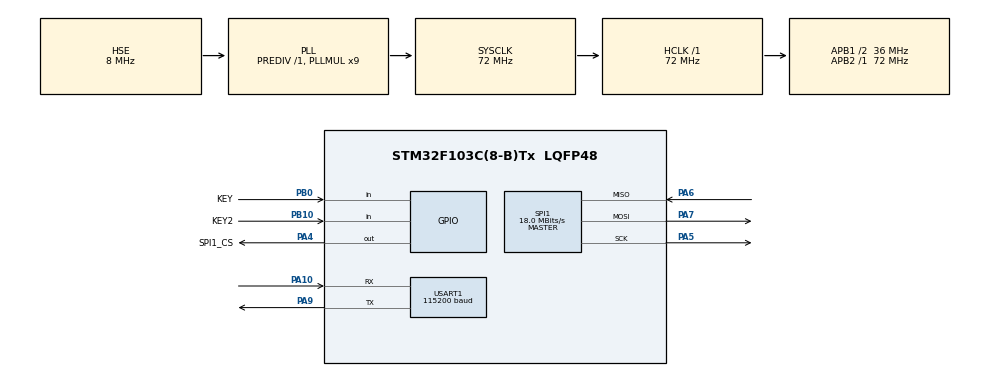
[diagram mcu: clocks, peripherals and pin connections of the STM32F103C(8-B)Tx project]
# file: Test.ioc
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FREERTOS.INCLUDE_eTaskGetState=1
FREERTOS.INCLUDE_uxTaskGetStackHighWaterMark=1
FREERTOS.INCLUDE_uxTaskPriorityGet=0
FREERTOS.INCLUDE_vTaskDelayUntil=0
FREERTOS.INCLUDE_vTaskDelete=0
FREERTOS.INCLUDE_vTaskPrioritySet=0
FREERTOS.INCLUDE_xTaskGetHandle=1
FREERTOS.INCLUDE_xTaskGetSchedulerState=0
FREERTOS.Tasks01=MainTask,32,512,MainTaskEntry,As weak,NULL,Dynamic,NULL,NULL;Task01,8,256,Task01Entry,As weak,NULL,Dynamic,NULL,NULL;Task02,9,256,Task02Entry,As weak,NULL,Dynamic,NULL,NULL;KeyScanTask,8,256,KeyScanTaskEntry,As weak,NULL,Dynamic,NULL,NULL
FREERTOS.configCHECK_FOR_STACK_OVERFLOW=2
FREERTOS.configGENERATE_RUN_TIME_STATS=0
FREERTOS.configTIMER_TASK_STACK_DEPTH=128
FREERTOS.configTOTAL_HEAP_SIZE=10240
FREERTOS.configUSE_MALLOC_FAILED_HOOK=1
FREERTOS.configUSE_NEWLIB_REENTRANT=1
FREERTOS.configUSE_STATS_FORMATTING_FUNCTIONS=0
FREERTOS.configUSE_TIMERS=1
FREERTOS.configUSE_TRACE_FACILITY=0
Mcu.Family=STM32F1
Mcu.Name=STM32F103C(8-B)Tx
Mcu.Package=LQFP48
NVIC.PriorityGroup=NVIC_PRIORITYGROUP_4
NVIC.TIM4_IRQn=true\:15\:0\:false\:false\:true\:false\:false\:true\:true
NVIC.TimeBase=TIM4_IRQn
NVIC.TimeBaseIP=TIM4
NVIC.USART1_IRQn=true\:5\:0\:false\:false\:true\:true\:true\:true\:true
NimaLTD.I-CUBE-SPIF.2.3.2.DriverJjSPIF=true
NimaLTD.I-CUBE-SPIF.2.3.2.SPIF_DEBUG=SPIF_DEBUG_DISABLE
NimaLTD.I-CUBE-SPIF.2.3.2.SPIF_RTOS=SPIF_RTOS_CMSIS_V2
PA10.GPIO_PuPd=GPIO_PULLUP
PA10.Mode=Asynchronous
PA10.Signal=USART1_RX
PA13.Mode=Serial_Wire
PA13.Signal=SYS_JTMS-SWDIO
PA14.Mode=Serial_Wire
PA14.Signal=SYS_JTCK-SWCLK
PA4.GPIO_Label=SPI1_CS
PA4.Signal=GPIO_Output
PA5.Mode=Full_Duplex_Master
PA5.Signal=SPI1_SCK
PA6.Mode=Full_Duplex_Master
PA6.Signal=SPI1_MISO
PA7.Mode=Full_Duplex_Master
PA7.Signal=SPI1_MOSI
PA9.Mode=Asynchronous
PA9.Signal=USART1_TX
PB0.GPIO_Label=KEY
PB0.GPIO_PuPd=GPIO_PULLUP
PB0.Signal=GPIO_Input
PB10.GPIO_Label=KEY2
PB10.GPIO_PuPd=GPIO_PULLUP
PB10.Signal=GPIO_Input
PD0-OSC_IN.Mode=HSE-External-Oscillator
PD0-OSC_IN.Signal=RCC_OSC_IN
PD1-OSC_OUT.Mode=HSE-External-Oscillator
PD1-OSC_OUT.Signal=RCC_OSC_OUT
ProjectManager.HeapSize=0x200
ProjectManager.StackSize=0x400
ProjectManager.TargetToolchain=CMake
RCC.AHBFreq_Value=72000000
RCC.APB1CLKDivider=RCC_HCLK_DIV2
RCC.APB1Freq_Value=36000000
RCC.APB1TimFreq_Value=72000000
RCC.APB2Freq_Value=72000000
RCC.APB2TimFreq_Value=72000000
RCC.HCLKFreq_Value=72000000
RCC.PLLMUL=RCC_PLL_MUL9
RCC.PLLSourceVirtual=RCC_PLLSOURCE_HSE
RCC.SYSCLKFreq_VALUE=72000000
RCC.SYSCLKSource=RCC_SYSCLKSOURCE_PLLCLK
RCC.USBFreq_Value=72000000
SPI1.BaudRatePrescaler=SPI_BAUDRATEPRESCALER_4
SPI1.CalculateBaudRate=18.0 MBits/s
SPI1.Direction=SPI_DIRECTION_2LINES
SPI1.Mode=SPI_MODE_MASTER
SPI1.VirtualType=VM_MASTER
USART1.BaudRate=115200
USART1.VirtualMode=VM_ASYNC
VP_FREERTOS_VS_CMSIS_V2.Mode=CMSIS_V2
VP_NimaLTD.I-CUBE-SPIF_VS_DriverJjSPIF_1.0.0_2.3.2.Mode=DriverJjSPIF
VP_SYS_VS_tim4.Mode=TIM4
board=custom

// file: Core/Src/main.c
/* USER CODE BEGIN Header */
/**
 ******************************************************************************
 * @file           : main.c
 * @brief          : Main program body
 ******************************************************************************
 * @attention
 *
 * Copyright (c) 2024 STMicroelectronics.
 * All rights reserved.
 *
 * This software is licensed under terms that can be found in the LICENSE file
 * in the root directory of this software component.
 * If no LICENSE file comes with this software, it is provided AS-IS.
 *
 ******************************************************************************
 */
/* USER CODE END Header */
#include "main.h"
#include "cmsis_os.h"
#include "spi.h"
#include "usart.h"
#include "gpio.h"

/* USER CODE BEGIN Includes */
#include "Common.h"
#include <stdio.h>
/* USER CODE END Includes */

/* USER CODE BEGIN PV */
uint64_t runTimeTicks;
/* USER CODE END PV */

void SystemClock_Config(void);
void MX_FREERTOS_Init(void);

int main(void)
{

  /* MCU Configuration--------------------------------------------------------*/

  /* Reset of all peripherals, Initializes the Flash interface and the Systick. */
  HAL_Init();

  /* Configure the system clock */
  SystemClock_Config();

  /* Initialize all configured peripherals */
  MX_GPIO_Init();
  MX_USART1_UART_Init();
  MX_SPI1_Init();

  /* Init scheduler */
  osKernelInitialize();

  /* Call init function for freertos objects (in cmsis_os2.c) */
  MX_FREERTOS_Init();

  /* Start scheduler */
  osKernelStart();

  /* We should never get here as control is now taken by the scheduler */

  /* Infinite loop */
    while (1) {

    }
}

void SystemClock_Config(void)
{
  RCC_OscInitTypeDef RCC_OscInitStruct = {0};
  RCC_ClkInitTypeDef RCC_ClkInitStruct = {0};

  /** Initializes the RCC Oscillators according to the specified parameters
  * in the RCC_OscInitTypeDef structure.
  */
  RCC_OscInitStruct.OscillatorType = RCC_OSCILLATORTYPE_HSE;
  RCC_OscInitStruct.HSEState = RCC_HSE_ON;
  RCC_OscInitStruct.HSEPredivValue = RCC_HSE_PREDIV_DIV1;
  RCC_OscInitStruct.HSIState = RCC_HSI_ON;
  RCC_OscInitStruct.PLL.PLLState = RCC_PLL_ON;
  RCC_OscInitStruct.PLL.PLLSource = RCC_PLLSOURCE_HSE;
  RCC_OscInitStruct.PLL.PLLMUL = RCC_PLL_MUL9;
  if (HAL_RCC_OscConfig(&RCC_OscInitStruct) != HAL_OK)
  {
    Error_Handler();
  }

  /** Initializes the CPU, AHB and APB buses clocks
  */
  RCC_ClkInitStruct.ClockType = RCC_CLOCKTYPE_HCLK|RCC_CLOCKTYPE_SYSCLK
                              |RCC_CLOCKTYPE_PCLK1|RCC_CLOCKTYPE_PCLK2;
  RCC_ClkInitStruct.SYSCLKSource = RCC_SYSCLKSOURCE_PLLCLK;
  RCC_ClkInitStruct.AHBCLKDivider = RCC_SYSCLK_DIV1;
  RCC_ClkInitStruct.APB1CLKDivider = RCC_HCLK_DIV2;
  RCC_ClkInitStruct.APB2CLKDivider = RCC_HCLK_DIV1;

  if (HAL_RCC_ClockConfig(&RCC_ClkInitStruct, FLASH_LATENCY_2) != HAL_OK)
  {
    Error_Handler();
  }
}

/* USER CODE BEGIN 4 */

unsigned long getRunTimeCounterValue(void)
{
    return runTimeTicks;
}

/* USER CODE END 4 */

void HAL_TIM_PeriodElapsedCallback(TIM_HandleTypeDef *htim)
{
  if (htim->Instance == TIM4) {
    HAL_IncTick();
  }
  /* USER CODE BEGIN Callback 1 */
    else if (htim->Instance == TIM2) {
        runTimeTicks++;
    }
  /* USER CODE END Callback 1 */
}

void Error_Handler(void)
{
  /* USER CODE BEGIN Error_Handler_Debug */
    /* User can add his own implementation to report the HAL error return state */
    printf("Error_Handler\r\n");
    __disable_irq();
    while (1) {
    }
  /* USER CODE END Error_Handler_Debug */
}

#ifdef  USE_FULL_ASSERT
/**
  * @brief  Reports the name of the source file and the source line number
  *         where the assert_param error has occurred.
  * @param  file: pointer to the source file name
  * @param  line: assert_param error line source number
  * @retval None
  */
void assert_failed(uint8_t *file, uint32_t line)
{
  /* USER CODE BEGIN 6 */
    vAssertCalled(file, line);
  /* USER CODE END 6 */
}
#endif /* USE_FULL_ASSERT */

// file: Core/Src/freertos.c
/* USER CODE BEGIN Header */
/**
 ******************************************************************************
 * File Name          : freertos.c
 * Description        : Code for freertos applications
 ******************************************************************************
 * @attention
 *
 * Copyright (c) 2024 STMicroelectronics.
 * All rights reserved.
 *
 * This software is licensed under terms that can be found in the LICENSE file
 * in the root directory of this software component.
 * If no LICENSE file comes with this software, it is provided AS-IS.
 *
 ******************************************************************************
 */
/* USER CODE END Header */

#include "FreeRTOS.h"
#include "task.h"
#include "main.h"
#include "cmsis_os.h"

/* USER CODE BEGIN Includes */

#include "Common.h"
#include "CommunicationTask.h"
#include "Key.h"
#include "MainTask.h"
#include "PrintSystemStateTask.h"
#include "event_groups.h"
#include "queue.h"
#include <stdio.h>

/* USER CODE END Includes */

/* Definitions for MainTask */
osThreadId_t MainTaskHandle;
const osThreadAttr_t MainTask_attributes = {
  .name = "MainTask",
  .stack_size = 512 * 4,
  .priority = (osPriority_t) osPriorityAboveNormal,
};
/* Definitions for Task01 */
osThreadId_t Task01Handle;
const osThreadAttr_t Task01_attributes = {
  .name = "Task01",
  .stack_size = 256 * 4,
  .priority = (osPriority_t) osPriorityLow,
};
/* Definitions for Task02 */
osThreadId_t Task02Handle;
const osThreadAttr_t Task02_attributes = {
  .name = "Task02",
  .stack_size = 256 * 4,
  .priority = (osPriority_t) osPriorityLow1,
};
/* Definitions for KeyScanTask */
osThreadId_t KeyScanTaskHandle;
const osThreadAttr_t KeyScanTask_attributes = {
  .name = "KeyScanTask",
  .stack_size = 256 * 4,
  .priority = (osPriority_t) osPriorityLow,
};

void MainTaskEntry(void *argument);
void Task01Entry(void *argument);
void Task02Entry(void *argument);
void KeyScanTaskEntry(void *argument);

void MX_FREERTOS_Init(void); /* (MISRA C 2004 rule 8.1) */

/* Hook prototypes */
void vApplicationStackOverflowHook(xTaskHandle xTask, signed char *pcTaskName);
void vApplicationMallocFailedHook(void);

/* USER CODE BEGIN 4 */
void vApplicationStackOverflowHook(xTaskHandle xTask, signed char* pcTaskName)
{
    UNUSED(xTask);
    printf("Stack overflow in task %s\r\n", pcTaskName);
    vAssertCalled((uint8_t*)__FILE__, __LINE__);
}
/* USER CODE END 4 */

/* USER CODE BEGIN 5 */
void vApplicationMallocFailedHook(void)
{
    /* vApplicationMallocFailedHook() will only be called if
    configUSE_MALLOC_FAILED_HOOK is set to 1 in FreeRTOSConfig.h. It is a hook
    function that will get called if a call to pvPortMalloc() fails.
    pvPortMalloc() is called internally by the kernel whenever a task, queue,
    timer or semaphore is created. It is also called by various parts of the
    demo application. If heap_1.c or heap_2.c are used, then the size of the
    heap available to pvPortMalloc() is defined by configTOTAL_HEAP_SIZE in
    FreeRTOSConfig.h, and the xPortGetFreeHeapSize() API function can be used
    to query the size of free heap space that remains (although it does not
    provide information on how the remaining heap might be fragmented). */
    printf("Malloc failed\r\n");
    vAssertCalled((uint8_t*)__FILE__, __LINE__);
}
/* USER CODE END 5 */

void MX_FREERTOS_Init(void) {

  /* Create the thread(s) */
  /* creation of MainTask */
  MainTaskHandle = osThreadNew(MainTaskEntry, NULL, &MainTask_attributes);

  /* creation of Task01 */
  Task01Handle = osThreadNew(Task01Entry, NULL, &Task01_attributes);

  /* creation of Task02 */
  Task02Handle = osThreadNew(Task02Entry, NULL, &Task02_attributes);

  /* creation of KeyScanTask */
  KeyScanTaskHandle = osThreadNew(KeyScanTaskEntry, NULL, &KeyScanTask_attributes);

}

__weak void MainTaskEntry(void *argument)
{
  /* USER CODE BEGIN MainTaskEntry */
    UNUSED(argument);
    MainTask_Run();
    /* Infinite loop */
    for (;;) {
        osDelay(1);
    }
  /* USER CODE END MainTaskEntry */
}

__weak void Task01Entry(void *argument)
{
  /* USER CODE BEGIN Task01Entry */
    UNUSED(argument);
    // PrintSystemStateTask_Run();
    /* Infinite loop */
    for (;;) { }
  /* USER CODE END Task01Entry */
}

__weak void Task02Entry(void *argument)
{
  /* USER CODE BEGIN Task02Entry */
    UNUSED(argument);
    CommunicationTask_Run();

    /* Infinite loop */
    for (;;) { }
  /* USER CODE END Task02Entry */
}

__weak void KeyScanTaskEntry(void *argument)
{
  /* USER CODE BEGIN KeyScanTaskEntry */
    UNUSED(argument);
    /* Infinite loop */
    for (;;) {
        osDelay(1);
    }
  /* USER CODE END KeyScanTaskEntry */
}
